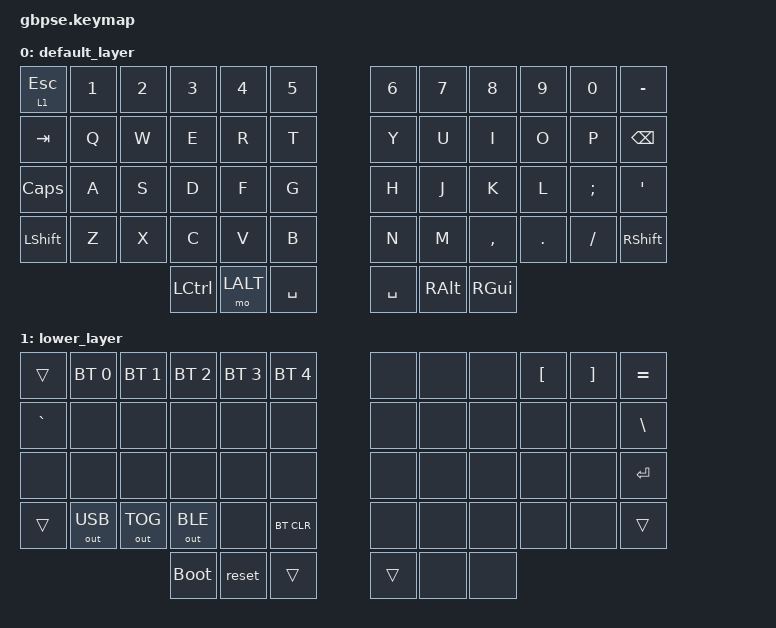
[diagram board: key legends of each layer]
/*
 * Copyright (c) 2020 The ZMK Contributors
 *
 * SPDX-License-Identifier: MIT
 */

#include <behaviors.dtsi>
#include <dt-bindings/zmk/keys.h>
#include <dt-bindings/zmk/bt.h>
#include <dt-bindings/zmk/outputs.h>

#define DEFAULT 0
#define LOWER 	1

/ {	
	keymap {
		compatible = "zmk,keymap";
		
		default_layer {
			bindings = <
                &lt 1 ESC   &kp N1      &kp N2      &kp N3          &kp N4      &kp N5                  &kp N6      &kp N7      &kp N8      &kp N9      &kp N0      &kp MINUS
				&kp TAB     &kp Q       &kp W       &kp E           &kp R       &kp T                   &kp Y       &kp U       &kp I       &kp O       &kp P       &kp BSPC
                &kp CAPS    &kp A       &kp S       &kp D           &kp F       &kp G                   &kp H       &kp J       &kp K       &kp L       &kp SEMI    &kp SQT
                &kp LSHFT   &kp Z       &kp X       &kp C           &kp V       &kp B                   &kp N       &kp M       &kp COMMA   &kp DOT     &kp FSLH    &kp RSHFT
                                                    &kp LCTRL       &mo LALT    &kp SPACE     &kp SPACE &kp RALT    &kp RGUI 				
			>;

		};

		 lower_layer {
			 bindings = <
				&trans 			&bt BT_SEL 0	&bt BT_SEL 1	&bt BT_SEL 2	&bt BT_SEL 3	&bt BT_SEL 4                                &none 			&none 			&none 			&kp LBKT		&kp	RBKT		&kp EQUAL 
				&kp GRAVE		&none 			&none 			&none 			&none 			&none                                       &none 			&none 			&none 			&none 			&none 			&kp BSLH
                &none 			&none 			&none 			&none 			&none 			&none                                       &none 			&none 			&none 			&none 			&none 			&kp ENTER
                &trans		 	&out OUT_USB	&out OUT_TOG	&out OUT_BLE	&none 			&bt BT_CLR                                  &none 			&none 			&none 			&none 			&none 			&trans
                                                                                &bootloader		&reset 			&trans		   &trans       &none           &none 			
			 >;
	
		 };
	};
};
